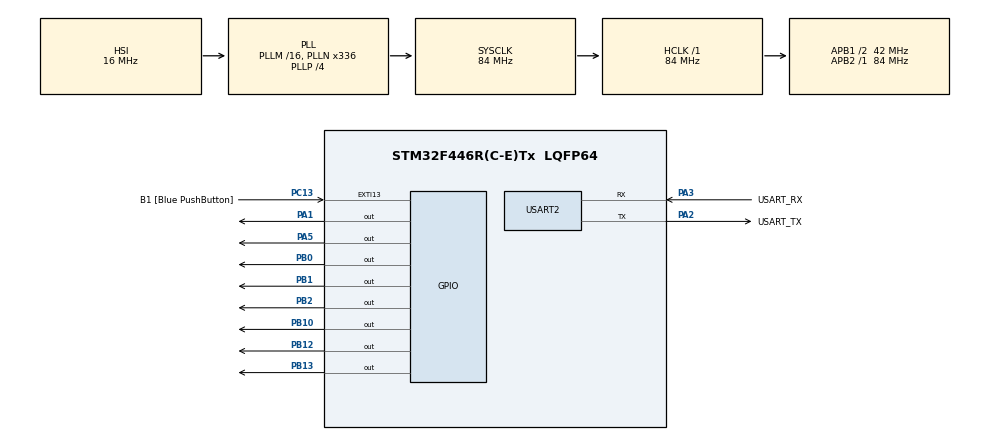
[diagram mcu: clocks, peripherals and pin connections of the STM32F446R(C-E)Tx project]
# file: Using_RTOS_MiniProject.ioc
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FREERTOS.Tasks01=TempTask,24,512,StartDefaultTask,Default,NULL,Dynamic,NULL,NULL;MotorTask,8,512,StartTask02,Default,NULL,Dynamic,NULL,NULL
Mcu.Family=STM32F4
Mcu.Name=STM32F446R(C-E)Tx
Mcu.Package=LQFP64
NVIC.PriorityGroup=NVIC_PRIORITYGROUP_4
PA1.Signal=GPIO_Output
PA13.GPIO_Label=TMS
PA13.Mode=Serial_Wire
PA13.Signal=SYS_JTMS-SWDIO
PA14.GPIO_Label=TCK
PA14.Mode=Serial_Wire
PA14.Signal=SYS_JTCK-SWCLK
PA2.GPIO_Label=USART_TX
PA2.Mode=Asynchronous
PA2.Signal=USART2_TX
PA3.GPIO_Label=USART_RX
PA3.Mode=Asynchronous
PA3.Signal=USART2_RX
PA5.Signal=GPIO_Output
PB0.Signal=GPIO_Output
PB1.Signal=GPIO_Output
PB10.Signal=GPIO_Output
PB12.Signal=GPIO_Output
PB13.Signal=GPIO_Output
PB2.Signal=GPIO_Output
PB3.GPIO_Label=SWO
PB3.Signal=SYS_JTDO-SWO
PC13.GPIO_Label=B1 [Blue PushButton]
PC13.GPIO_ModeDefaultEXTI=GPIO_MODE_IT_FALLING
PC13.Signal=GPXTI13
PC14-OSC32_IN.Mode=LSE-External-Oscillator
PC14-OSC32_IN.Signal=RCC_OSC32_IN
PC15-OSC32_OUT.Mode=LSE-External-Oscillator
PC15-OSC32_OUT.Signal=RCC_OSC32_OUT
PH0-OSC_IN.Mode=HSE-External-Oscillator
PH0-OSC_IN.Signal=RCC_OSC_IN
PH1-OSC_OUT.Mode=HSE-External-Oscillator
PH1-OSC_OUT.Signal=RCC_OSC_OUT
ProjectManager.HeapSize=0x200
ProjectManager.StackSize=0x400
ProjectManager.TargetToolchain=STM32CubeIDE
RCC.48MHZClocksFreq_Value=84000000
RCC.AHBFreq_Value=84000000
RCC.APB1CLKDivider=RCC_HCLK_DIV2
RCC.APB1Freq_Value=42000000
RCC.APB1TimFreq_Value=84000000
RCC.APB2Freq_Value=84000000
RCC.APB2TimFreq_Value=84000000
RCC.CortexFreq_Value=84000000
RCC.FLatency-AdvancedSettings=FLASH_LATENCY_2
RCC.HCLKFreq_Value=84000000
RCC.HSE_VALUE=8000000
RCC.HSI_VALUE=16000000
RCC.PLLN=336
RCC.PLLP=RCC_PLLP_DIV4
RCC.SYSCLKFreq_VALUE=84000000
RCC.SYSCLKSource=RCC_SYSCLKSOURCE_PLLCLK
RCC.USBFreq_Value=168000000
RCC.VCOOutputFreq_Value=336000000
TIM6.Prescaler=83
USART2.VirtualMode=VM_ASYNC
VP_FREERTOS_VS_CMSIS_V2.Mode=CMSIS_V2
VP_TIM6_VS_ClockSourceINT.Mode=Enable_Timer
board=NUCLEO-F446RE

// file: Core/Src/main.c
/* USER CODE BEGIN Header */
/**
  ******************************************************************************
  * @file           : main.c
  * @brief          : Main program body
  ******************************************************************************
  * @attention
  *
  * Copyright (c) 2026 STMicroelectronics.
  * All rights reserved.
  *
  * This software is licensed under terms that can be found in the LICENSE file
  * in the root directory of this software component.
  * If no LICENSE file comes with this software, it is provided AS-IS.
  *
  ******************************************************************************
  */
/* USER CODE END Header */
#include "main.h"
#include "cmsis_os.h"

/* USER CODE BEGIN Includes */
#include "stdio.h"
/* USER CODE END Includes */

/* USER CODE BEGIN PD */
#define RS_PIN GPIO_PIN_0
#define EN_PIN GPIO_PIN_1
#define D4_PIN GPIO_PIN_2
#define D5_PIN GPIO_PIN_10
#define D6_PIN GPIO_PIN_12
#define D7_PIN GPIO_PIN_13

#define LCD_PORT GPIOB

#define DS_PORT GPIOA
#define DS_PIN GPIO_PIN_1
/* USER CODE END PD */

TIM_HandleTypeDef htim6;

UART_HandleTypeDef huart2;

/* Definitions for TempTask */
osThreadId_t TempTaskHandle;
const osThreadAttr_t TempTask_attributes = {
  .name = "TempTask",
  .stack_size = 512 * 4,
  .priority = (osPriority_t) osPriorityNormal,
};
/* Definitions for MotorTask */
osThreadId_t MotorTaskHandle;
const osThreadAttr_t MotorTask_attributes = {
  .name = "MotorTask",
  .stack_size = 512 * 4,
  .priority = (osPriority_t) osPriorityLow,
};
/* USER CODE BEGIN PV */
float temperature;
char lcd_buffer[16];
/* USER CODE END PV */

void SystemClock_Config(void);
static void MX_GPIO_Init(void);
static void MX_USART2_UART_Init(void);
static void MX_TIM6_Init(void);
void StartDefaultTask(void *argument);
void StartTask02(void *argument);

/* USER CODE BEGIN 0 */
void LCD_Enable()
{
    HAL_GPIO_WritePin(LCD_PORT, EN_PIN, GPIO_PIN_SET);
    osDelay(1);
    HAL_GPIO_WritePin(LCD_PORT, EN_PIN, GPIO_PIN_RESET);
}

void LCD_Send4Bit(uint8_t data)
{
    HAL_GPIO_WritePin(LCD_PORT,D4_PIN,(data>>0)&1);
    HAL_GPIO_WritePin(LCD_PORT,D5_PIN,(data>>1)&1);
    HAL_GPIO_WritePin(LCD_PORT,D6_PIN,(data>>2)&1);
    HAL_GPIO_WritePin(LCD_PORT,D7_PIN,(data>>3)&1);
    LCD_Enable();
}

void LCD_Command(uint8_t cmd)
{
    HAL_GPIO_WritePin(LCD_PORT, RS_PIN, GPIO_PIN_RESET);

    LCD_Send4Bit(cmd >> 4);
    LCD_Send4Bit(cmd & 0x0F);

    osDelay(2);
}

void LCD_Data(uint8_t data)
{
    HAL_GPIO_WritePin(LCD_PORT,RS_PIN,GPIO_PIN_SET);
    LCD_Send4Bit(data>>4);
    LCD_Send4Bit(data&0x0F);
    osDelay(2);
}

void LCD_Init()
{
    osDelay(50);
    LCD_Send4Bit(0x03);
    osDelay(5);
    LCD_Send4Bit(0x03);
    osDelay(5);
    LCD_Send4Bit(0x03);
    osDelay(5);
    LCD_Send4Bit(0x02);

    LCD_Command(0x28);
    LCD_Command(0x0C);
    LCD_Command(0x06);
    LCD_Command(0x01);
}

void LCD_SetCursor(int row,int col)
{
    if(row==0)
        LCD_Command(0x80+col);
    else
        LCD_Command(0xC0+col);
}

void LCD_Print(char *str)
{
    while(*str)
        LCD_Data(*str++);
}
extern TIM_HandleTypeDef htim6;

void delay_us(uint16_t us)
{
 __HAL_TIM_SET_COUNTER(&htim6,0);
 while(__HAL_TIM_GET_COUNTER(&htim6)<us);
}

void DS_Output(void)
{
 GPIO_InitTypeDef GPIO_InitStruct = {0};

 GPIO_InitStruct.Pin = DS_PIN;
 GPIO_InitStruct.Mode = GPIO_MODE_OUTPUT_OD;
 GPIO_InitStruct.Pull = GPIO_NOPULL;
 GPIO_InitStruct.Speed = GPIO_SPEED_FREQ_LOW;

 HAL_GPIO_Init(DS_PORT, &GPIO_InitStruct);
}

void DS_Input(void)
{
 GPIO_InitTypeDef GPIO_InitStruct = {0};

 GPIO_InitStruct.Pin = DS_PIN;
 GPIO_InitStruct.Mode = GPIO_MODE_INPUT;
 GPIO_InitStruct.Pull = GPIO_NOPULL;

 HAL_GPIO_Init(DS_PORT, &GPIO_InitStruct);
}

uint8_t DS_Reset(void)
{
 uint8_t response;

 DS_Output();
 HAL_GPIO_WritePin(DS_PORT, DS_PIN, 0);
 delay_us(480);

 DS_Input();
 delay_us(80);

 response = HAL_GPIO_ReadPin(DS_PORT, DS_PIN);
 delay_us(400);

 return response;
}

void DS_WriteBit(uint8_t bit)
{
 DS_Output();
 HAL_GPIO_WritePin(DS_PORT, DS_PIN, 0);

 if(bit) delay_us(1);
 else delay_us(60);

 DS_Input();

 if(bit) delay_us(60);
 else delay_us(1);
}

uint8_t DS_ReadBit(void)
{
 uint8_t bit=0;

 DS_Output();
 HAL_GPIO_WritePin(DS_PORT, DS_PIN, 0);

 delay_us(2);

 DS_Input();
 delay_us(10);

 bit = HAL_GPIO_ReadPin(DS_PORT, DS_PIN);

 delay_us(50);

 return bit;
}

void DS_WriteByte(uint8_t data)
{
 for(int i=0;i<8;i++)
 {
  DS_WriteBit(data & 0x01);
  data >>=1;
 }
}

uint8_t DS_ReadByte(void)
{
 uint8_t data=0;

 for(int i=0;i<8;i++)
 {
  data >>=1;
  if(DS_ReadBit()) data |= 0x80;
 }

 return data;
}

float DS_ReadTemp(void)
{
 uint8_t TL,TH;
 int16_t TEMP;

 if(DS_Reset() != 0)
  return -127;   // sensor not detected

 DS_WriteByte(0xCC);
 DS_WriteByte(0x44);

 osDelay(750);

 if(DS_Reset() != 0)
  return -127;

 DS_WriteByte(0xCC);
 DS_WriteByte(0xBE);

 TL = DS_ReadByte();
 TH = DS_ReadByte();

 TEMP = (TH<<8)|TL;

 return (float)TEMP/16.0;
}
/* USER CODE END 0 */

int main(void)
{

  /* MCU Configuration--------------------------------------------------------*/

  /* Reset of all peripherals, Initializes the Flash interface and the Systick. */
  HAL_Init();

  /* Configure the system clock */
  SystemClock_Config();

  /* Initialize all configured peripherals */
  MX_GPIO_Init();
  MX_USART2_UART_Init();
  MX_TIM6_Init();
  /* USER CODE BEGIN 2 */
  HAL_TIM_Base_Start(&htim6);
  /* USER CODE END 2 */

  /* Init scheduler */
  osKernelInitialize();

  /* Create the thread(s) */
  /* creation of TempTask */
  TempTaskHandle = osThreadNew(StartDefaultTask, NULL, &TempTask_attributes);

  /* creation of MotorTask */
  MotorTaskHandle = osThreadNew(StartTask02, NULL, &MotorTask_attributes);

  /* Start scheduler */
  osKernelStart();

  /* We should never get here as control is now taken by the scheduler */

  /* Infinite loop */
  while (1)
  {

  }
}

void SystemClock_Config(void)
{
  RCC_OscInitTypeDef RCC_OscInitStruct = {0};
  RCC_ClkInitTypeDef RCC_ClkInitStruct = {0};

  /** Configure the main internal regulator output voltage
  */
  __HAL_RCC_PWR_CLK_ENABLE();
  __HAL_PWR_VOLTAGESCALING_CONFIG(PWR_REGULATOR_VOLTAGE_SCALE3);

  /** Initializes the RCC Oscillators according to the specified parameters
  * in the RCC_OscInitTypeDef structure.
  */
  RCC_OscInitStruct.OscillatorType = RCC_OSCILLATORTYPE_HSI;
  RCC_OscInitStruct.HSIState = RCC_HSI_ON;
  RCC_OscInitStruct.HSICalibrationValue = RCC_HSICALIBRATION_DEFAULT;
  RCC_OscInitStruct.PLL.PLLState = RCC_PLL_ON;
  RCC_OscInitStruct.PLL.PLLSource = RCC_PLLSOURCE_HSI;
  RCC_OscInitStruct.PLL.PLLM = 16;
  RCC_OscInitStruct.PLL.PLLN = 336;
  RCC_OscInitStruct.PLL.PLLP = RCC_PLLP_DIV4;
  RCC_OscInitStruct.PLL.PLLQ = 2;
  RCC_OscInitStruct.PLL.PLLR = 2;
  if (HAL_RCC_OscConfig(&RCC_OscInitStruct) != HAL_OK)
  {
    Error_Handler();
  }

  /** Initializes the CPU, AHB and APB buses clocks
  */
  RCC_ClkInitStruct.ClockType = RCC_CLOCKTYPE_HCLK|RCC_CLOCKTYPE_SYSCLK
                              |RCC_CLOCKTYPE_PCLK1|RCC_CLOCKTYPE_PCLK2;
  RCC_ClkInitStruct.SYSCLKSource = RCC_SYSCLKSOURCE_PLLCLK;
  RCC_ClkInitStruct.AHBCLKDivider = RCC_SYSCLK_DIV1;
  RCC_ClkInitStruct.APB1CLKDivider = RCC_HCLK_DIV2;
  RCC_ClkInitStruct.APB2CLKDivider = RCC_HCLK_DIV1;

  if (HAL_RCC_ClockConfig(&RCC_ClkInitStruct, FLASH_LATENCY_2) != HAL_OK)
  {
    Error_Handler();
  }
}

static void MX_TIM6_Init(void)
{

  TIM_MasterConfigTypeDef sMasterConfig = {0};

  htim6.Instance = TIM6;
  htim6.Init.Prescaler = 83;
  htim6.Init.CounterMode = TIM_COUNTERMODE_UP;
  htim6.Init.Period = 65535;
  htim6.Init.AutoReloadPreload = TIM_AUTORELOAD_PRELOAD_DISABLE;
  if (HAL_TIM_Base_Init(&htim6) != HAL_OK)
  {
    Error_Handler();
  }
  sMasterConfig.MasterOutputTrigger = TIM_TRGO_RESET;
  sMasterConfig.MasterSlaveMode = TIM_MASTERSLAVEMODE_DISABLE;
  if (HAL_TIMEx_MasterConfigSynchronization(&htim6, &sMasterConfig) != HAL_OK)
  {
    Error_Handler();
  }

}

static void MX_USART2_UART_Init(void)
{

  huart2.Instance = USART2;
  huart2.Init.BaudRate = 115200;
  huart2.Init.WordLength = UART_WORDLENGTH_8B;
  huart2.Init.StopBits = UART_STOPBITS_1;
  huart2.Init.Parity = UART_PARITY_NONE;
  huart2.Init.Mode = UART_MODE_TX_RX;
  huart2.Init.HwFlowCtl = UART_HWCONTROL_NONE;
  huart2.Init.OverSampling = UART_OVERSAMPLING_16;
  if (HAL_UART_Init(&huart2) != HAL_OK)
  {
    Error_Handler();
  }

}

static void MX_GPIO_Init(void)
{
  GPIO_InitTypeDef GPIO_InitStruct = {0};

  /* GPIO Ports Clock Enable */
  __HAL_RCC_GPIOC_CLK_ENABLE();
  __HAL_RCC_GPIOH_CLK_ENABLE();
  __HAL_RCC_GPIOA_CLK_ENABLE();
  __HAL_RCC_GPIOB_CLK_ENABLE();

  /*Configure GPIO pin Output Level */
  HAL_GPIO_WritePin(GPIOA, GPIO_PIN_1|GPIO_PIN_5, GPIO_PIN_RESET);

  /*Configure GPIO pin Output Level */
  HAL_GPIO_WritePin(GPIOB, GPIO_PIN_0|GPIO_PIN_1|GPIO_PIN_2|GPIO_PIN_10
                          |GPIO_PIN_12|GPIO_PIN_13, GPIO_PIN_RESET);

  /*Configure GPIO pin : B1_Pin */
  GPIO_InitStruct.Pin = B1_Pin;
  GPIO_InitStruct.Mode = GPIO_MODE_IT_FALLING;
  GPIO_InitStruct.Pull = GPIO_NOPULL;
  HAL_GPIO_Init(B1_GPIO_Port, &GPIO_InitStruct);

  /* PA1 → DS18B20 */
  GPIO_InitStruct.Pin = GPIO_PIN_1;
  GPIO_InitStruct.Mode = GPIO_MODE_OUTPUT_OD;
  GPIO_InitStruct.Pull = GPIO_NOPULL;
  GPIO_InitStruct.Speed = GPIO_SPEED_FREQ_LOW;
  HAL_GPIO_Init(GPIOA, &GPIO_InitStruct);

  /* PA5 → Motor */
  GPIO_InitStruct.Pin = GPIO_PIN_5;
  GPIO_InitStruct.Mode = GPIO_MODE_OUTPUT_PP;
  GPIO_InitStruct.Pull = GPIO_NOPULL;
  GPIO_InitStruct.Speed = GPIO_SPEED_FREQ_LOW;
  HAL_GPIO_Init(GPIOA, &GPIO_InitStruct);

  /*Configure GPIO pins : PB0 PB1 PB2 PB10
                           PB12 PB13 */
  GPIO_InitStruct.Pin = GPIO_PIN_0|GPIO_PIN_1|GPIO_PIN_2|GPIO_PIN_10
                          |GPIO_PIN_12|GPIO_PIN_13;
  GPIO_InitStruct.Mode = GPIO_MODE_OUTPUT_PP;
  GPIO_InitStruct.Pull = GPIO_NOPULL;
  GPIO_InitStruct.Speed = GPIO_SPEED_FREQ_LOW;
  HAL_GPIO_Init(GPIOB, &GPIO_InitStruct);

}

void StartDefaultTask(void *argument)
{
  /* USER CODE BEGIN 5 */
  /* Infinite loop */
	LCD_Init();

	for(;;)
	{
	 temperature = DS_ReadTemp();

	 LCD_Command(0x01);

	 sprintf(lcd_buffer,
	 "Temp: %.2f C",
	 temperature);

	 LCD_SetCursor(0,0);
	 LCD_Print(lcd_buffer);

	 osDelay(1000);
	}
}

void StartTask02(void *argument)
{
 for(;;)
 {
  temperature = DS_ReadTemp();

  if(temperature >= 30.0)
  {
   HAL_GPIO_WritePin(GPIOA,
   GPIO_PIN_5,
   GPIO_PIN_SET);
  }
  else
  {
   HAL_GPIO_WritePin(GPIOA,
   GPIO_PIN_5,
   GPIO_PIN_RESET);
  }

  osDelay(500);
 }
}

void Error_Handler(void)
{
  __disable_irq();
  while (1)
  {
  }
}
